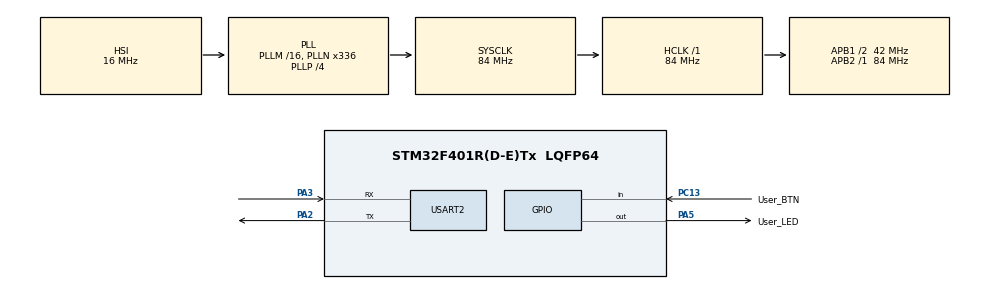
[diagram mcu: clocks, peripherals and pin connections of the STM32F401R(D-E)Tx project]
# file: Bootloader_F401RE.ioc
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IWDG.Prescaler=IWDG_PRESCALER_64
IWDG.Reload=500-1
Mcu.Family=STM32F4
Mcu.Name=STM32F401R(D-E)Tx
Mcu.Package=LQFP64
NVIC.PriorityGroup=NVIC_PRIORITYGROUP_0
NVIC.USART2_IRQn=true\:0\:0\:false\:false\:true\:true\:true\:true
PA13.GPIO_Label=TMS
PA13.Mode=Serial_Wire
PA13.Signal=SYS_JTMS-SWDIO
PA14.GPIO_Label=TCK
PA14.Mode=Serial_Wire
PA14.Signal=SYS_JTCK-SWCLK
PA2.Mode=Asynchronous
PA2.Signal=USART2_TX
PA3.Mode=Asynchronous
PA3.Signal=USART2_RX
PA5.GPIO_Label=User_LED
PA5.GPIO_Mode=GPIO_MODE_OUTPUT_PP
PA5.GPIO_PuPd=GPIO_NOPULL
PA5.GPIO_Speed=GPIO_SPEED_FREQ_LOW
PA5.Signal=GPIO_Output
PB3.GPIO_Label=SWO
PB3.Signal=SYS_JTDO-SWO
PC13-ANTI_TAMP.GPIO_Label=User_BTN
PC13-ANTI_TAMP.GPIO_PuPd=GPIO_PULLUP
PC13-ANTI_TAMP.Signal=GPIO_Input
PC14-OSC32_IN.Mode=LSE-External-Oscillator
PC14-OSC32_IN.Signal=RCC_OSC32_IN
PC15-OSC32_OUT.Mode=LSE-External-Oscillator
PC15-OSC32_OUT.Signal=RCC_OSC32_OUT
PH0\ -\ OSC_IN.Mode=HSE-External-Clock-Source
PH0\ -\ OSC_IN.Signal=RCC_OSC_IN
PH1\ -\ OSC_OUT.Mode=HSE-External-Clock-Source
PH1\ -\ OSC_OUT.Signal=RCC_OSC_OUT
ProjectManager.HeapSize=0x200
ProjectManager.StackSize=0x400
ProjectManager.TargetToolchain=MDK-ARM V5.32
RCC.48MHZClocksFreq_Value=48000000
RCC.AHBFreq_Value=84000000
RCC.APB1CLKDivider=RCC_HCLK_DIV2
RCC.APB1Freq_Value=42000000
RCC.APB1TimFreq_Value=84000000
RCC.APB2Freq_Value=84000000
RCC.APB2TimFreq_Value=84000000
RCC.CortexFreq_Value=84000000
RCC.HCLKFreq_Value=84000000
RCC.HSE_VALUE=8000000
RCC.HSI_VALUE=16000000
RCC.PLLN=336
RCC.PLLP=RCC_PLLP_DIV4
RCC.PLLQ=7
RCC.SYSCLKFreq_VALUE=84000000
RCC.SYSCLKSource=RCC_SYSCLKSOURCE_PLLCLK
RCC.VCOOutputFreq_Value=336000000
USART2.VirtualMode=VM_ASYNC
VP_IWDG_VS_IWDG.Mode=IWDG_Activate
board=NUCLEO-F401RE

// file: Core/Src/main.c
/* USER CODE BEGIN Header */
/**
  ******************************************************************************
  * @file           : main.c
  * @brief          : Main program body
  ******************************************************************************
  * @attention
  *
  * Copyright (c) 2024 STMicroelectronics.
  * All rights reserved.
  *
  * This software is licensed under terms that can be found in the LICENSE file
  * in the root directory of this software component.
  * If no LICENSE file comes with this software, it is provided AS-IS.
  *
  ******************************************************************************
  */
/* USER CODE END Header */
#include "main.h"
#include "usart.h"
#include "gpio.h"

/* USER CODE BEGIN Includes */
#include "bootloader.h"
#include "common.h"
/* USER CODE END Includes */

/* USER CODE BEGIN PV */
uint32_t current_ms = 0;
/* USER CODE END PV */

void SystemClock_Config(void);

int main(void)
{

  /* MCU Configuration--------------------------------------------------------*/

  /* Reset of all peripherals, Initializes the Flash interface and the Systick. */
  HAL_Init();

  /* Configure the system clock */
  SystemClock_Config();

  /* Initialize all configured peripherals */
  MX_GPIO_Init();
  MX_USART2_UART_Init();
  /* USER CODE BEGIN 2 */
	iap_init();
	HAL_UART_Receive_IT(&FLASH_USART_HANDLE, receive_buffer, 20);

	while (current_ms < IAP_CHECK_TIME && boot_mode == NORMAL_BOOT) // wait IAP_CHECK_TIME & Switch To Firmware Upgrade Mode
	{
		if (HAL_GetTick() - current_ms >= 50)
		{
			HAL_GPIO_TogglePin(User_LED_GPIO_Port, User_LED_Pin); // toggle led every 100ms
			current_ms = HAL_GetTick();
		}
	}

	// 2024.3.23 Blackcat: Switch To Firmware Upgrade Mode Immediately When Push Button
	// User_BTN_Pin: Pull High => Default: GPIO_PIN_SET / Pushed: GPIO_PIN_RESET
	if (HAL_GPIO_ReadPin(User_BTN_GPIO_Port, User_BTN_Pin) == GPIO_PIN_RESET)
		boot_mode = FLASH_MODE;

	if (boot_mode == NORMAL_BOOT)
		iap_jump_to_app();
	else
		HAL_GPIO_WritePin(User_LED_GPIO_Port, User_LED_Pin, GPIO_PIN_SET);
  /* USER CODE END 2 */

  /* Infinite loop */
  while (1)
  {

  }
}

void SystemClock_Config(void)
{
  RCC_OscInitTypeDef RCC_OscInitStruct = {0};
  RCC_ClkInitTypeDef RCC_ClkInitStruct = {0};

  /** Configure the main internal regulator output voltage
  */
  __HAL_RCC_PWR_CLK_ENABLE();
  __HAL_PWR_VOLTAGESCALING_CONFIG(PWR_REGULATOR_VOLTAGE_SCALE2);

  /** Initializes the RCC Oscillators according to the specified parameters
  * in the RCC_OscInitTypeDef structure.
  */
  RCC_OscInitStruct.OscillatorType = RCC_OSCILLATORTYPE_HSI|RCC_OSCILLATORTYPE_LSI;
  RCC_OscInitStruct.HSIState = RCC_HSI_ON;
  RCC_OscInitStruct.HSICalibrationValue = RCC_HSICALIBRATION_DEFAULT;
  RCC_OscInitStruct.LSIState = RCC_LSI_ON;
  RCC_OscInitStruct.PLL.PLLState = RCC_PLL_ON;
  RCC_OscInitStruct.PLL.PLLSource = RCC_PLLSOURCE_HSI;
  RCC_OscInitStruct.PLL.PLLM = 16;
  RCC_OscInitStruct.PLL.PLLN = 336;
  RCC_OscInitStruct.PLL.PLLP = RCC_PLLP_DIV4;
  RCC_OscInitStruct.PLL.PLLQ = 7;
  if (HAL_RCC_OscConfig(&RCC_OscInitStruct) != HAL_OK)
  {
    Error_Handler();
  }

  /** Initializes the CPU, AHB and APB buses clocks
  */
  RCC_ClkInitStruct.ClockType = RCC_CLOCKTYPE_HCLK|RCC_CLOCKTYPE_SYSCLK
                              |RCC_CLOCKTYPE_PCLK1|RCC_CLOCKTYPE_PCLK2;
  RCC_ClkInitStruct.SYSCLKSource = RCC_SYSCLKSOURCE_PLLCLK;
  RCC_ClkInitStruct.AHBCLKDivider = RCC_SYSCLK_DIV1;
  RCC_ClkInitStruct.APB1CLKDivider = RCC_HCLK_DIV2;
  RCC_ClkInitStruct.APB2CLKDivider = RCC_HCLK_DIV1;

  if (HAL_RCC_ClockConfig(&RCC_ClkInitStruct, FLASH_LATENCY_2) != HAL_OK)
  {
    Error_Handler();
  }
}

/* USER CODE BEGIN 4 */
void HAL_UART_RxCpltCallback(UART_HandleTypeDef *huart)
{
    if (huart->Instance == FLASH_USART_INSTANCE)
    {
        char int_msg = 0;
        uint16_t crc = ModRTU_CRC(receive_buffer, 18); // ignore last 2 bytes (CRC)
        uint16_t crc_rx = ((uint16_t)receive_buffer[19] << 8) + receive_buffer[18];

        // Check The Buffer Protocol is BLE RTU
        if (crc == crc_rx)
        {
            // Check The Function Code is 0xFF: Switch To Firmware Upgrade Mode.
            if (receive_buffer[0] == SLAVE_MOBILE)
            {
                // Use Progress To Handle IAP Command.
                int_msg = iap_progress(receive_buffer[1]);

                if (int_msg == 0x00)  // IAP Don't Send, So Send OK Response
                {
                    ble_rtu_message_packet(transmit_buffer, SLAVE_CATTRACKSOS, FNC_OK, NULL, 0);
                    HAL_UART_Transmit(&FLASH_USART_HANDLE, transmit_buffer, 20, HAL_MAX_DELAY);
                }
            }
        }
        else
        {
            // Send ERROR Response
            ble_rtu_message_packet(transmit_buffer, SLAVE_CATTRACKSOS, FNC_ERROR, NULL, 0);
            HAL_UART_Transmit(&FLASH_USART_HANDLE, transmit_buffer, 20, HAL_MAX_DELAY);
        }
    }

    // Wait Next Receive
    HAL_UART_Receive_IT(&FLASH_USART_HANDLE, receive_buffer, 20);
}
/* USER CODE END 4 */

void Error_Handler(void)
{
  __disable_irq();
  while (1)
  {
  }
}
